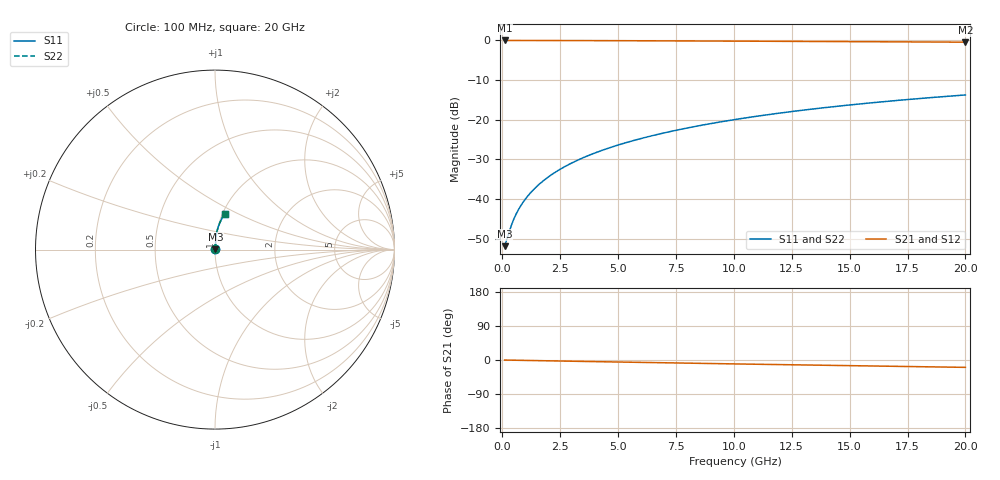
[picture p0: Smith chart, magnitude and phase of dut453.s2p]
! Touchstone file exported from HFSS 2024.1.0
!  File:  C:/UserFiles/LocalFiles/RDL_TSV_Batchsim/temp_RDL_top_453_1779677228.aedt
!  Generated:  10:49:21 AM May 25, 2026
!  Design:  RDL_top
!  Project:  temp_RDL_top_453_1779677228
!  Setup:  Setup1
!  Solution:  Sweep
! Variables:
!  dtsv = 10.80580581um
!  hbump = 3um
!  htsv = 98.19um
!  ldown = 100um
!  lrdl = 253.95um
!  p = 40
!  p1 = 40.43um
!  rhole = 1um
!  t = 450um
!  tdown = 3.915915916um
!  trdl = 2.35um
!  wdown = 15.38538539um
!  wrdl = 19.14um
# GHz S MA R 50.000000
! Terminal data exported
! Port[1] = Box2_T1
! Port[2] = Box2_T2
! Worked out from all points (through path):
!   200 points, 100 MHz to 20 GHz, reference 50 ohm
!   highest |S21| = -0.02 dB at 100 MHz (marker M1); lowest = -0.4 dB at 20 GHz (marker M2)
!   group delay of S21, straight-line fit = 2.68 ps
!   lowest |S11| = -51.9 dB at 100 MHz (marker M3), VSWR 1.01, Z = 50.2 + j0.104 ohm
!   |S11| at or under -10 dB: start of sweep to end of sweep
!   |S22| runs from -51.9 to -13.8 dB; largest |S21 - S12| = 3.3e-15
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0.1  0.002537 24.0  0.9977 -0.1  0.9977 -0.1  0.002537 24.0
! Gamma 0 0 0 0
! Port Impedance 50 0 50 0
0.3  0.003898 51.5  0.9975 -0.3  0.9975 -0.3  0.003898 51.5
0.4  0.004735 58.1  0.9975 -0.5  0.9975 -0.5  0.004735 58.1
0.5  0.005597 62.7  0.9974 -0.6  0.9974 -0.6  0.005597 62.7
0.6  0.006469 66.0  0.9973 -0.7  0.9973 -0.7  0.006469 66.0
0.7  0.007345 68.5  0.9972 -0.8  0.9972 -0.8  0.007345 68.5
0.9  0.009106 72.3  0.997 -1.0  0.997 -1.0  0.009106 72.3
1.2  0.01177 76.0  0.9967 -1.3  0.9967 -1.3  0.01177 76.0
1.4  0.01357 77.7  0.9966 -1.5  0.9966 -1.5  0.01357 77.7
1.7  0.0163 79.6  0.9963 -1.9  0.9963 -1.9  0.0163 79.6
2.2  0.0209 81.8  0.9958 -2.4  0.9958 -2.4  0.0209 81.8
2.8  0.02651 83.4  0.995 -3.0  0.995 -3.0  0.02651 83.4
3.5  0.03317 84.5  0.994 -3.8  0.994 -3.8  0.03317 84.5
4.2  0.03996 85.2  0.9927 -4.5  0.9927 -4.5  0.03996 85.2
5  0.04785 85.6  0.9911 -5.3  0.9911 -5.3  0.04785 85.6
5.9  0.05691 85.7  0.9892 -6.3  0.9892 -6.3  0.05691 85.7
6.8  0.06613 85.6  0.987 -7.2  0.987 -7.2  0.06613 85.6
8.4  0.08285 85.0  0.9829 -8.7  0.9829 -8.7  0.08285 85.0
10.1  0.1009 83.9  0.9783 -10.4  0.9783 -10.4  0.1009 83.9
13.4  0.1362 81.1  0.9691 -13.5  0.9691 -13.5  0.1362 81.1
16.7  0.1711 78.0  0.9595 -16.5  0.9595 -16.5  0.1711 78.0
20  0.205 74.9  0.9496 -19.4  0.9496 -19.4  0.205 74.9
